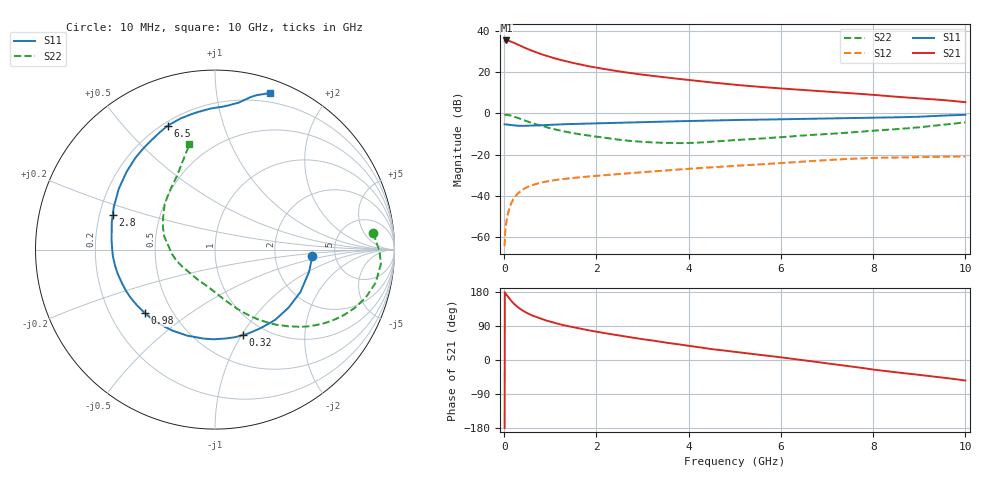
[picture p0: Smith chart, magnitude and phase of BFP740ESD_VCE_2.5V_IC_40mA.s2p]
! Infineon Technologies  Discrete & RF Semiconductors
! BFP740ESD
! VCE =  2.5 V,  IC =  40 mA
! Common Emitter S-Parameters:  Jan 2016
# GHz  S  MA  R  50
!  f  S11  S21  S12  S22
! GHz  MAG  ANG  MAG  ANG  MAG  ANG  MAG  ANG
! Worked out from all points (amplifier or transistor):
!   233 points, 10 MHz to 10 GHz, reference 50 ohm
!   highest |S21| = 35.4 dB at 50 MHz (marker M1)
!   |S21| within 3 dB of that: start of sweep to 394 MHz
!   unconditionally stable (mu >= 1): start of sweep to 17.84 MHz; 3.088 GHz to 6.766 GHz
!   at 200 MHz: K = 0.30, MSG = 38.0 dB, |S12| = -41.6 dB
!   at 1.74 GHz: K = 0.78, MSG = 27.1 dB, |S12| = -30.8 dB
!   at 10 GHz: K = 0.67, MSG = 13.1 dB, |S12| = -20.9 dB
!   S11 on the Smith chart (normalised r, x): 10 MHz: 3.34, -0.33; 320 MHz: 0.80, -1.02; 980 MHz: 0.35, -0.34; 2.8 GHz: 0.25, +0.15; 6.5 GHz: 0.22, +0.67; 10 GHz: 0.12, +1.40
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0.01  0.5426 -3.7  56.48 -179.3  0.0006 96.4  0.8869 6.0
0.02  0.5411 -5.9  58.66 177.2  0.0012 87.6  0.9169 -0.7
0.05  0.5385 -13.3  58.75 172.4  0.0024 82.3  0.9277 -4.9
0.1  0.5316 -26.4  57.91 164.3  0.0044 77.4  0.9142 -11.6
0.15  0.5218 -38.4  55.22 156.6  0.0064 73.8  0.8829 -17.4
0.185  0.5154 -46.1  53.25 152.0  0.0077 71.0  0.8562 -20.9
0.24  0.5074 -57.3  49.98 145.3  0.0096 67.3  0.8145 -25.9
0.32  0.501 -71.7  45.39 137.3  0.012 63.0  0.7544 -32.0
0.45  0.4996 -90.8  38.92 127.1  0.0152 57.3  0.668 -39.9
0.6  0.5038 -107.9  33.17 117.9  0.018 52.1  0.5851 -46.8
0.8  0.5161 -125.6  27.41 108.6  0.021 47.3  0.5007 -54.2
0.98  0.5267 -138.0  23.67 101.8  0.0229 44.4  0.4415 -59.8
1.3  0.5461 -154.7  18.87 91.6  0.0257 40.9  0.3649 -67.8
1.68  0.5623 -169.3  15.1 81.9  0.0284 38.9  0.3061 -75.6
2.2  0.5779 175.3  11.76 70.4  0.0318 37.6  0.2529 -85.7
2.8  0.602 161.3  9.301 58.7  0.0359 36.9  0.2115 -100.4
3.4  0.6282 149.6  7.677 48.0  0.0403 35.8  0.1937 -117.4
5.1  0.6921 124.7  4.836 20.0  0.054 30.0  0.2278 -166.8
6.5  0.7391 110.9  3.687 -0.8  0.0678 23.2  0.2931 165.2
6.8  0.7477 107.3  3.5 -5.4  0.0712 21.0  0.3054 160.2
8.4  0.7972 87.0  2.586 -31.0  0.0846 5.4  0.406 129.3
10  0.9243 70.7  1.869 -54.2  0.0906 -7.7  0.6048 103.6
